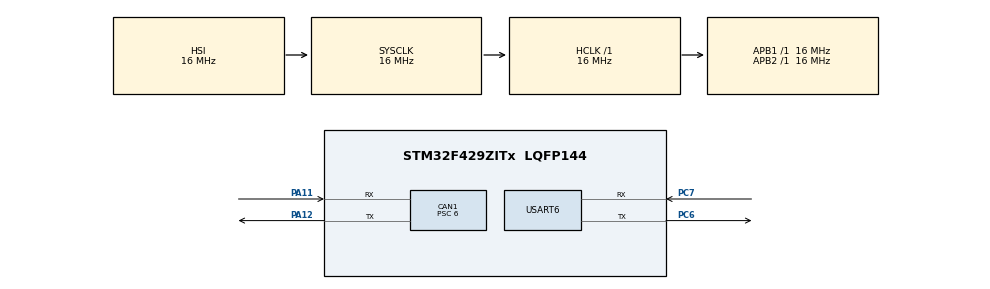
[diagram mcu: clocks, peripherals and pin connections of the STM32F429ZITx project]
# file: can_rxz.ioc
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CAN1.BS1=CAN_BS1_13TQ
CAN1.BS2=CAN_BS2_2TQ
CAN1.CalculateBaudRate=166666
CAN1.CalculateTimeBit=6000
CAN1.CalculateTimeQuantum=375.0
CAN1.NART=ENABLE
CAN1.Prescaler=6
Mcu.Family=STM32F4
Mcu.Name=STM32F429ZITx
Mcu.Package=LQFP144
NVIC.CAN1_RX0_IRQn=true\:0\:0\:false\:false\:true\:true\:true\:true
NVIC.PriorityGroup=NVIC_PRIORITYGROUP_4
PA11.Mode=CAN_Activate
PA11.Signal=CAN1_RX
PA12.Mode=CAN_Activate
PA12.Signal=CAN1_TX
PC6.Mode=Asynchronous
PC6.Signal=USART6_TX
PC7.Mode=Asynchronous
PC7.Signal=USART6_RX
ProjectManager.HeapSize=0x200
ProjectManager.StackSize=0x400
ProjectManager.TargetToolchain=STM32CubeIDE
RCC.AHBFreq_Value=16000000
RCC.APB1Freq_Value=16000000
RCC.APB2Freq_Value=16000000
RCC.CortexFreq_Value=16000000
RCC.HSE_VALUE=25000000
RCC.HSI_VALUE=16000000
RCC.LSE_VALUE=32768
RCC.SYSCLKFreq_VALUE=16000000
RCC.VCOOutputFreq_Value=192000000
USART6.VirtualMode=VM_ASYNC
board=custom

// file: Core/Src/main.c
/* USER CODE BEGIN Header */
/**
  ******************************************************************************
  * @file           : main.c
  * @brief          : Main program body
  ******************************************************************************
  * @attention
  *
  * Copyright (c) 2024 STMicroelectronics.
  * All rights reserved.
  *
  * This software is licensed under terms that can be found in the LICENSE file
  * in the root directory of this software component.
  * If no LICENSE file comes with this software, it is provided AS-IS.
  *
  ******************************************************************************
  */
/* USER CODE END Header */
#include "main.h"

/* USER CODE BEGIN Includes */
#include <string.h>
#include <stdio.h>
/* USER CODE END Includes */

CAN_HandleTypeDef hcan1;

UART_HandleTypeDef huart6;

/* USER CODE BEGIN PV */
CAN_Message_t rxBuffer[CAN_RX_BUFFER_SIZE];
volatile uint8_t rxWriteIndex = 0;
volatile uint8_t rxReadIndex = 0;
/* USER CODE END PV */

void SystemClock_Config(void);
static void MX_GPIO_Init(void);
static void MX_CAN1_Init(void);
static void MX_USART6_UART_Init(void);
/* USER CODE BEGIN PFP */
static void ProcessCANMessage(void);
/* USER CODE END PFP */

int main(void)
{

  /* MCU Configuration--------------------------------------------------------*/

  /* Reset of all peripherals, Initializes the Flash interface and the Systick. */
  HAL_Init();

  /* Configure the system clock */
  SystemClock_Config();

  /* Initialize all configured peripherals */
  MX_GPIO_Init();
  MX_CAN1_Init();
  MX_USART6_UART_Init();
  /* USER CODE BEGIN 2 */
  HAL_CAN_Start(&hcan1);
  HAL_CAN_ActivateNotification(&hcan1, CAN_IT_RX_FIFO0_MSG_PENDING);
  /* USER CODE END 2 */

  /* Infinite loop */
  /* USER CODE BEGIN WHILE */
  while (1)
  {
	  if(rxReadIndex != rxWriteIndex) {
		  ProcessCANMessage();
	  }
    /* USER CODE END WHILE */

  }
}

void SystemClock_Config(void)
{
  RCC_OscInitTypeDef RCC_OscInitStruct = {0};
  RCC_ClkInitTypeDef RCC_ClkInitStruct = {0};

  /** Configure the main internal regulator output voltage
  */
  __HAL_RCC_PWR_CLK_ENABLE();
  __HAL_PWR_VOLTAGESCALING_CONFIG(PWR_REGULATOR_VOLTAGE_SCALE3);

  /** Initializes the RCC Oscillators according to the specified parameters
  * in the RCC_OscInitTypeDef structure.
  */
  RCC_OscInitStruct.OscillatorType = RCC_OSCILLATORTYPE_HSI;
  RCC_OscInitStruct.HSIState = RCC_HSI_ON;
  RCC_OscInitStruct.HSICalibrationValue = RCC_HSICALIBRATION_DEFAULT;
  RCC_OscInitStruct.PLL.PLLState = RCC_PLL_NONE;
  if (HAL_RCC_OscConfig(&RCC_OscInitStruct) != HAL_OK)
  {
    Error_Handler();
  }

  /** Initializes the CPU, AHB and APB buses clocks
  */
  RCC_ClkInitStruct.ClockType = RCC_CLOCKTYPE_HCLK|RCC_CLOCKTYPE_SYSCLK
                              |RCC_CLOCKTYPE_PCLK1|RCC_CLOCKTYPE_PCLK2;
  RCC_ClkInitStruct.SYSCLKSource = RCC_SYSCLKSOURCE_HSI;
  RCC_ClkInitStruct.AHBCLKDivider = RCC_SYSCLK_DIV1;
  RCC_ClkInitStruct.APB1CLKDivider = RCC_HCLK_DIV1;
  RCC_ClkInitStruct.APB2CLKDivider = RCC_HCLK_DIV1;

  if (HAL_RCC_ClockConfig(&RCC_ClkInitStruct, FLASH_LATENCY_0) != HAL_OK)
  {
    Error_Handler();
  }
}

static void MX_CAN1_Init(void)
{

  hcan1.Instance = CAN1;
  hcan1.Init.Prescaler = 6;
  hcan1.Init.Mode = CAN_MODE_NORMAL;
  hcan1.Init.SyncJumpWidth = CAN_SJW_1TQ;
  hcan1.Init.TimeSeg1 = CAN_BS1_13TQ;
  hcan1.Init.TimeSeg2 = CAN_BS2_2TQ;
  hcan1.Init.TimeTriggeredMode = DISABLE;
  hcan1.Init.AutoBusOff = DISABLE;
  hcan1.Init.AutoWakeUp = DISABLE;
  hcan1.Init.AutoRetransmission = ENABLE;
  hcan1.Init.ReceiveFifoLocked = DISABLE;
  hcan1.Init.TransmitFifoPriority = DISABLE;
  if (HAL_CAN_Init(&hcan1) != HAL_OK)
  {
    Error_Handler();
  }
  /* USER CODE BEGIN CAN1_Init 2 */
  CAN_FilterTypeDef sFilterConfig;
  sFilterConfig.FilterBank = 0;
  sFilterConfig.FilterMode = CAN_FILTERMODE_IDMASK;
  sFilterConfig.FilterScale = CAN_FILTERSCALE_32BIT;
  sFilterConfig.FilterIdHigh = 0x0000;
  sFilterConfig.FilterIdLow = 0x0000;
  sFilterConfig.FilterMaskIdHigh = 0x0000;
  sFilterConfig.FilterMaskIdLow = 0x0000;
  sFilterConfig.FilterFIFOAssignment = CAN_RX_FIFO0;
  sFilterConfig.FilterActivation = ENABLE;
  /* USER CODE END CAN1_Init 2 */

}

static void MX_USART6_UART_Init(void)
{

  huart6.Instance = USART6;
  huart6.Init.BaudRate = 115200;
  huart6.Init.WordLength = UART_WORDLENGTH_8B;
  huart6.Init.StopBits = UART_STOPBITS_1;
  huart6.Init.Parity = UART_PARITY_NONE;
  huart6.Init.Mode = UART_MODE_TX_RX;
  huart6.Init.HwFlowCtl = UART_HWCONTROL_NONE;
  huart6.Init.OverSampling = UART_OVERSAMPLING_16;
  if (HAL_UART_Init(&huart6) != HAL_OK)
  {
    Error_Handler();
  }

}

static void MX_GPIO_Init(void)
{

  /* GPIO Ports Clock Enable */
  __HAL_RCC_GPIOC_CLK_ENABLE();
  __HAL_RCC_GPIOA_CLK_ENABLE();

}

/* USER CODE BEGIN 4 */
static void ProcessCANMessage(void) {
	char uartBuffer[UART_TX_BUFFER_SIZE];
	CAN_Message_t* msg = &rxBuffer[rxReadIndex];

	//Format de pe script: ID=123 DLC=8 DATA AA BB CC
	int len = snprintf(uartBuffer, UART_TX_BUFFER_SIZE, "ID:%03X DLC:%d Data:",msg->IDE ? msg->ExtId : msg->StdId, msg->DLC);

	//biti de date
	for(int i = 0; i < msg-> DLC; i++) {
		len += snprintf(uartBuffer + len, UART_TX_BUFFER_SIZE - len, "%02X ", msg->Data[i]);
	}

	//\n
	len += sprintf(uartBuffer + len, UART_TX_BUFFER_SIZE - len, "\r\n");

	HAL_UART_Transmit(&huart6, (uint8_t*)uartBuffer, len, HAL_MAX_DELAY);

	rxReadIndex = (rxReadIndex + 1) % CAN_RX_BUFFER_SIZE;
}
/* USER CODE END 4 */

void Error_Handler(void)
{
  __disable_irq();
  while (1)
  {
  }
}
